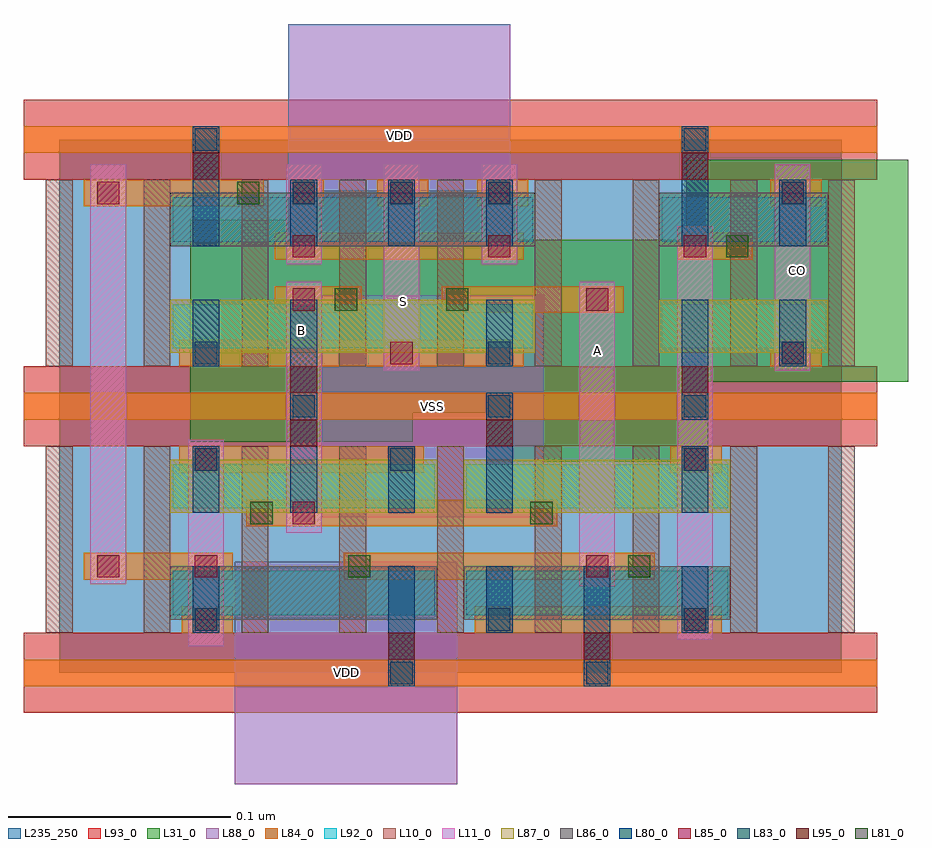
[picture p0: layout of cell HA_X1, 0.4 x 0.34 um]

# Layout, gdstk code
import gdstk
lib = gdstk.Library(unit=1e-6, precision=1e-09)
def R(c, l, rs):  # rectangles x0, y0, x1, y1
    for r in rs: c.add(gdstk.rectangle(r[:2], r[2:], *l))
def A(c, l, x, y, w, h, nx, ny, dx, dy):  # array of equal rectangles
    R(c, l, [(x+i*dx, y+j*dy, x+i*dx+w, y+j*dy+h) for i in range(nx) for j in range(ny)])
L10_0 = (10, 0)
L11_0 = (11, 0)
L31_0 = (31, 0)
L80_0 = (80, 0)
L81_0 = (81, 0)
L83_0 = (83, 0)
L84_0 = (84, 0)
L85_0 = (85, 0)
L86_0 = (86, 0)
L87_0 = (87, 0)
L88_0 = (88, 0)
L92_0 = (92, 0)
L93_0 = (93, 0)
L95_0 = (95, 0)
L235_250 = (235, 250)

ha_x1 = lib.new_cell('HA_X1')
A(ha_x1, L10_0, -0.006, 0.018, 0.012, 0.084, 9, 2, 0.044, 0.12)
R(ha_x1, L11_0, [(0.058,0.012,0.074,0.105), (0.278,0.015,0.294,0.201), (0.234,0.039,0.25,0.176), (0.014,0.04,0.03,0.229), (0.102,0.063,0.118,0.176), (0.146,0.136,0.162,0.229), (0.322,0.136,0.338,0.229), (0.102,0.184,0.118,0.229), (0.19,0.184,0.206,0.229)])
R(ha_x1, L31_0, [(0.192,0.095,0.292,0.195), (0.059,0.104,0.159,0.204), (0.105,0.117,0.205,0.217), (0.282,0.131,0.382,0.231)])
A(ha_x1, L80_0, 0.06, 0.138, 0.012, 0.03, 3, 1, 0.132, 0)
A(ha_x1, L80_0, 0.104, 0.192, 0.012, 0.03, 3, 1, 0.044, 0)
R(ha_x1, L80_0, [(0.148,-0.006,0.16,0.048), (0.236,-0.006,0.248,0.048), (0.06,0.018,0.072,0.048), (0.192,0.018,0.204,0.048), (0.28,0.018,0.292,0.048), (0.06,0.072,0.072,0.102), (0.104,0.072,0.116,0.168), (0.148,0.072,0.16,0.102), (0.192,0.072,0.204,0.126), (0.28,0.072,0.292,0.102), (0.28,0.114,0.292,0.168), (0.06,0.192,0.072,0.246), (0.28,0.192,0.292,0.246), (0.324,0.192,0.336,0.222)])
R(ha_x1, L81_0, [(0.13,0.043,0.14,0.053), (0.256,0.043,0.266,0.053), (0.086,0.067,0.096,0.077), (0.212,0.067,0.222,0.077), (0.124,0.163,0.134,0.173), (0.174,0.163,0.184,0.173), (0.3,0.187,0.31,0.197), (0.08,0.211,0.09,0.221)])
A(ha_x1, L83_0, 0.105, 0.115, 0.01, 0.01, 3, 1, 0.088, 0)
A(ha_x1, L83_0, 0.061, 0.139, 0.01, 0.01, 3, 1, 0.132, 0)
A(ha_x1, L83_0, 0.105, 0.211, 0.01, 0.01, 3, 1, 0.044, 0)
R(ha_x1, L83_0, [(0.149,-0.005,0.159,0.005), (0.237,-0.005,0.247,0.005), (0.061,0.019,0.071,0.029), (0.193,0.019,0.203,0.029), (0.281,0.019,0.291,0.029), (0.061,0.091,0.071,0.101), (0.149,0.091,0.159,0.101), (0.281,0.091,0.291,0.101), (0.325,0.211,0.335,0.221), (0.061,0.235,0.071,0.245), (0.281,0.235,0.291,0.245)])
A(ha_x1, L84_0, -0.016, -0.006, 0.384, 0.012, 1, 3, 0, 0.12)
R(ha_x1, L84_0, [(0.055,0.018,0.078,0.03), (0.187,0.018,0.298,0.03), (0.011,0.042,0.078,0.054), (0.128,0.042,0.268,0.054), (0.084,0.066,0.224,0.078), (0.054,0.09,0.164,0.102), (0.275,0.09,0.298,0.102), (0.054,0.138,0.209,0.15), (0.32,0.138,0.343,0.15), (0.097,0.162,0.136,0.174), (0.172,0.162,0.254,0.174), (0.097,0.186,0.209,0.198), (0.278,0.186,0.312,0.198), (0.011,0.21,0.092,0.222), (0.104,0.21,0.119,0.222), (0.143,0.21,0.166,0.222), (0.188,0.21,0.211,0.222), (0.32,0.21,0.343,0.222)])
A(ha_x1, L85_0, 0.105, 0.187, 0.01, 0.01, 3, 1, 0.088, 0)
A(ha_x1, L85_0, 0.105, 0.211, 0.01, 0.01, 3, 1, 0.044, 0)
R(ha_x1, L85_0, [(0.061,0.019,0.071,0.029), (0.281,0.019,0.291,0.029), (0.017,0.043,0.027,0.053), (0.061,0.043,0.071,0.053), (0.237,0.043,0.247,0.053), (0.105,0.067,0.115,0.077), (0.061,0.091,0.071,0.101), (0.281,0.091,0.291,0.101), (0.149,0.139,0.159,0.149), (0.325,0.139,0.335,0.149), (0.105,0.163,0.115,0.173), (0.237,0.163,0.247,0.173), (0.017,0.211,0.027,0.221), (0.325,0.211,0.335,0.221)])
R(ha_x1, L86_0, [(0.05,0.024,0.17,0.048), (0.182,0.024,0.302,0.048), (0.05,0.192,0.214,0.216), (0.27,0.192,0.346,0.216)])
R(ha_x1, L87_0, [(0.05,0.072,0.17,0.096), (0.182,0.072,0.302,0.096), (0.05,0.144,0.214,0.168), (0.27,0.144,0.346,0.168)])
R(ha_x1, L88_0, [(0.079,-0.05,0.179,0.05), (0.118,0.07,0.218,0.17), (0.103,0.192,0.203,0.292)])
R(ha_x1, L92_0, [(0.051,0.026,0.169,0.046), (0.183,0.026,0.301,0.046), (0.051,0.074,0.169,0.094), (0.183,0.074,0.301,0.094), (0.051,0.146,0.213,0.166), (0.271,0.146,0.345,0.166), (0.051,0.194,0.213,0.214), (0.271,0.194,0.345,0.214)])
A(ha_x1, L93_0, -0.016, -0.018, 0.384, 0.036, 1, 3, 0, 0.12)
R(ha_x1, L95_0, [(0.148,0.006,0.16,0.018), (0.236,0.006,0.248,0.018), (0.104,0.102,0.116,0.114), (0.192,0.102,0.204,0.114), (0.104,0.126,0.116,0.138), (0.28,0.126,0.292,0.138), (0.06,0.222,0.072,0.234), (0.28,0.222,0.292,0.234)])
R(ha_x1, L235_250, [(0,0,0.352,0.24)])
ha_x1.add(gdstk.Label('VDD', (0.153,0.242), layer=88, texttype=0))
ha_x1.add(gdstk.Label('VSS', (0.168,0.12), layer=88, texttype=0))
ha_x1.add(gdstk.Label('VDD', (0.129,0), layer=88, texttype=0))
ha_x1.add(gdstk.Label('A', (0.242,0.145), layer=31, texttype=0))
ha_x1.add(gdstk.Label('B', (0.109,0.154), layer=31, texttype=0))
ha_x1.add(gdstk.Label('S', (0.155,0.167), layer=31, texttype=0))
ha_x1.add(gdstk.Label('CO', (0.332,0.181), layer=31, texttype=0))

lib.write_gds('HA_X1.gds')
